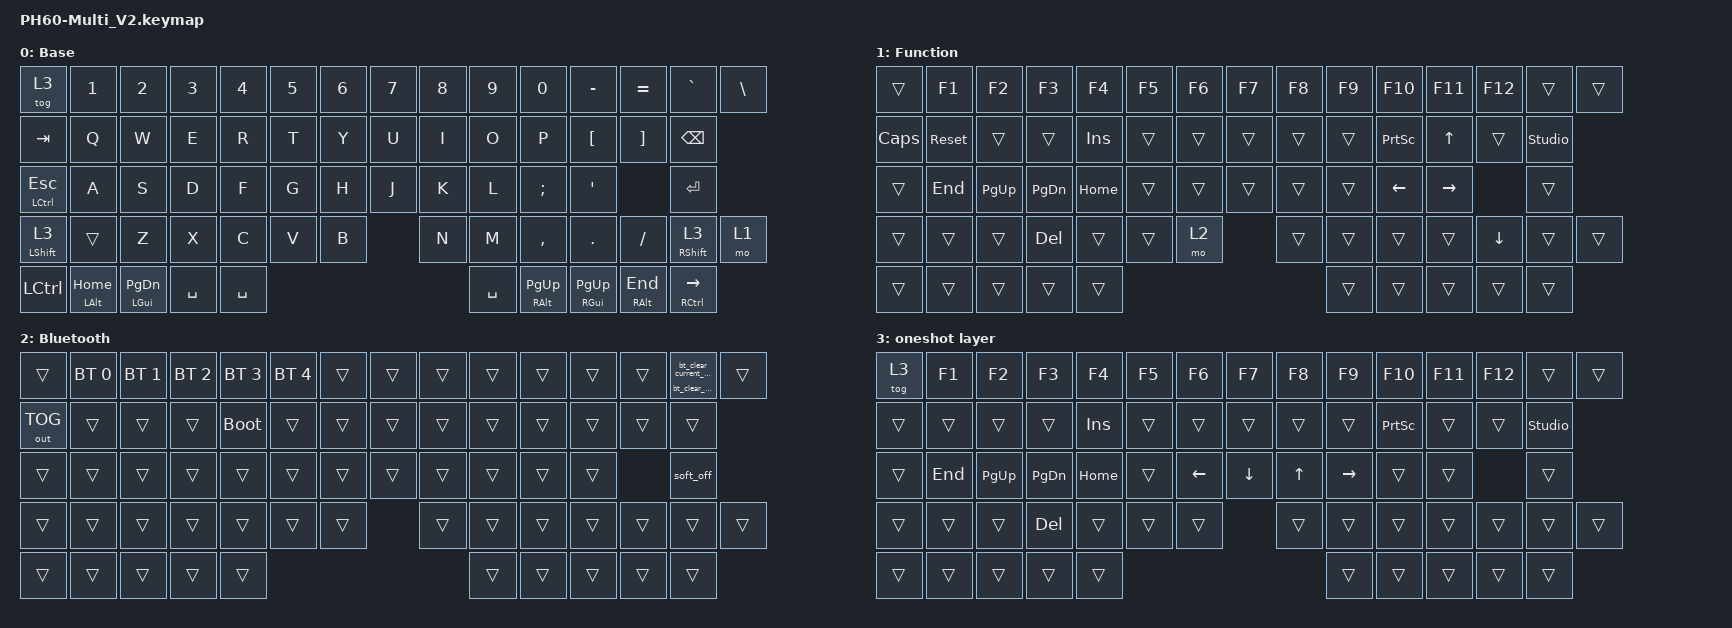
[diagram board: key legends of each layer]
/*
 * Copyright (c) 2025 Team PHDesign
 *
 * SPDX-License-Identifier: MIT
 */

#include <behaviors.dtsi>
#include <dt-bindings/zmk/keys.h>
#include <dt-bindings/zmk/bt.h>
#include <dt-bindings/zmk/outputs.h>
#include <dt-bindings/zmk/pointing.h>



/ {

    behaviors {

        // Macro to clear current BT profile (tap)
        bt_clear_current_macro: bt_clear_current_macro {
            compatible = "zmk,behavior-macro";
            #binding-cells = <0>;
            bindings = <&bt BT_CLR>;
        };

        // Macro to clear all BT profiles (hold)
        bt_clear_all_macro: bt_clear_all_macro {
            compatible = "zmk,behavior-macro";
            #binding-cells = <0>;
            bindings = <&bt BT_CLR_ALL>;
        };

        // Hold to clear all BT profiles, Tap to clear current
        bt_clear_holdtap: bt_clear_holdtap {
            compatible = "zmk,behavior-hold-tap";
            #binding-cells = <2>;
            flavor = "tap-preferred";
            tapping-term-ms = <3000>;
            bindings = <&bt_clear_all_macro>, <&bt_clear_current_macro>;
        };

        os_shift: os_shift {
            compatible = "zmk,behavior-hold-tap"; 
            label = "OS_SHIFT";
            #binding-cells = <2>;
            tapping-term-ms = <230>;
            flavor = "hold-preferred";
            bindings = <&kp>, <&sl>;
        };


        spc_caps: space_capslock {
            compatible = "zmk,behavior-mod-morph";
            #binding-cells = <0>;
            bindings = <&kp SPACE>, <&kp CAPS>;
            mods = <(MOD_LSFT|MOD_RSFT)>;
        };

    };

    keymap {
        compatible = "zmk,keymap";

        default_layer {
            display-name = "Base";
            bindings = <
&tog 3   &kp N1 &kp N2 &kp N3 &kp N4 &kp N5 &kp N6 &kp N7 &kp N8    &kp N9  &kp N0    &kp MINUS &kp EQUAL     &kp GRAVE  &kp BSLH
&kp TAB   &kp Q  &kp W  &kp E  &kp R  &kp T  &kp Y  &kp U  &kp I     &kp O   &kp P     &kp LBKT  &kp RBKT      &kp BSPC
&mt LCTRL ESC  &kp A  &kp S  &kp D  &kp F  &kp G  &kp H  &kp J  &kp K     &kp L   &kp SEMI  &kp SQT                 &kp RET
&os_shift LSHFT 3 &trans &kp Z  &kp X  &kp C  &kp V  &kp B  &kp N  &kp M     &kp COMMA &kp DOT &kp SLASH               &os_shift RSHFT 3 &mo 1
&kp LCTRL &mt LALT HOME &mt LGUI PG_DN       &kp SPACE        &kp SPACE        &kp SPACE      &mt RALT PG_UP  &mt RGUI PG_UP     &mt RALT END     &mt RCTRL RIGHT
            >;
        };

        function_layer {
            display-name = "Function";
            bindings = <
&trans &kp F1    &kp F2    &kp F3          &kp F4    &kp F5    &kp F6    &kp F7    &kp F8    &kp F9    &kp F10   &kp F11   &kp F12       &trans   &trans
&kp CAPS  &sys_reset    &trans    &trans      &kp INS  &trans  &trans    &trans    &trans    &trans    &kp PSCRN &kp UP  &trans       &studio_unlock
&trans    &kp END  &kp PG_UP  &kp PG_DN       &kp HOME      &trans  &trans    &trans    &trans    &trans    &kp LEFT &kp RIGHT               &trans
&trans    &trans    &trans    &kp DEL          &trans      &trans  &mo 2     &trans    &trans    &trans    &trans    &kp DOWN                  &trans    &trans
&trans    &trans    &trans              &trans               &trans               &trans         &trans    &trans    &trans        &trans
            >;
        };

        bluetooth_layer {
            display-name = "Bluetooth";
            bindings = <
&trans       &bt BT_SEL 0  &bt BT_SEL 1  &bt BT_SEL 2  &bt BT_SEL 3  &bt BT_SEL 4  &trans  &trans  &trans  &trans  &trans  &trans  &trans  &bt_clear_holdtap 0 0  &trans
&out OUT_TOG &trans        &trans        &trans        &bootloader   &trans        &trans  &trans  &trans  &trans  &trans  &trans  &trans  &trans
&trans       &trans        &trans        &trans        &trans        &trans      &trans  &trans  &trans  &trans  &trans  &trans          &soft_off
&trans       &trans        &trans        &trans        &trans        &trans        &trans  &trans  &trans  &trans  &trans  &trans          &trans           &trans
&trans       &trans        &trans                  &trans               &trans               &trans         &trans    &trans    &trans        &trans
            >;
        };

        oneshot_layer {
            display-name = "oneshot layer";
            bindings = <
&tog 3 &kp F1    &kp F2    &kp F3          &kp F4    &kp F5    &kp F6    &kp F7    &kp F8    &kp F9    &kp F10   &kp F11   &kp F12       &trans   &trans
&trans    &trans    &trans    &trans          &kp INS  &trans  &trans    &trans    &trans    &trans    &kp PSCRN &trans  &trans       &studio_unlock
&trans    &kp END  &kp PG_UP  &kp PG_DN       &kp HOME      &trans  &kp LEFT    &kp DOWN    &kp UP    &kp RIGHT    &trans &trans               &trans
&trans    &trans    &trans    &kp DEL          &trans      &trans  &trans     &trans    &trans    &trans    &trans    &trans                  &trans    &trans
&trans    &trans    &trans              &trans               &trans               &trans         &trans    &trans    &trans        &trans
            >;
        };

        extra2 {
            display-name = "Extra 2";
            status = "reserved";
        };
    };
};
